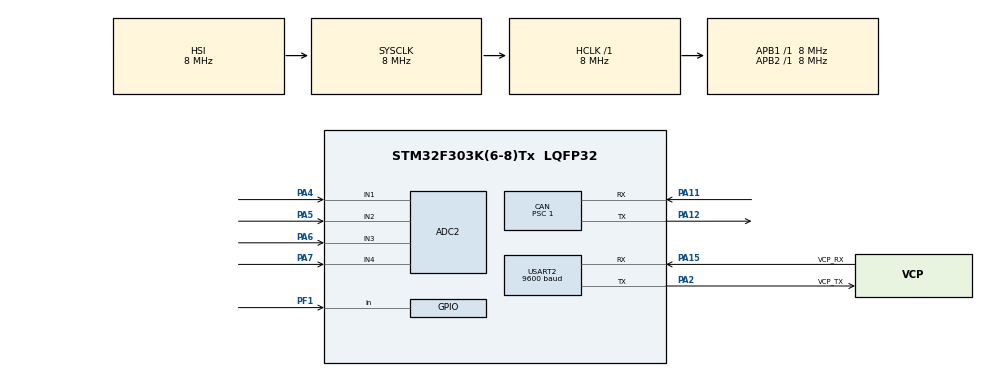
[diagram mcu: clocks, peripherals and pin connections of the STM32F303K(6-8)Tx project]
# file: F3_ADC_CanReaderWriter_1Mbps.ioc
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ADC2.Channel-0\#ChannelRegularConversion=ADC_CHANNEL_4
ADC2.Channel-1\#ChannelRegularConversion=ADC_CHANNEL_3
ADC2.Channel-2\#ChannelRegularConversion=ADC_CHANNEL_2
ADC2.Channel-3\#ChannelRegularConversion=ADC_CHANNEL_1
ADC2.ClockPrescaler=ADC_CLOCK_SYNC_PCLK_DIV4
ADC2.ContinuousConvMode=ENABLE
ADC2.DMAContinuousRequests=ENABLE
ADC2.NbrOfConversion=4
ADC2.NbrOfConversionFlag=1
ADC2.Offset-0\#ChannelRegularConversion=0
ADC2.Offset-1\#ChannelRegularConversion=0
ADC2.Offset-2\#ChannelRegularConversion=0
ADC2.Offset-3\#ChannelRegularConversion=0
ADC2.OffsetNumber-0\#ChannelRegularConversion=ADC_OFFSET_NONE
ADC2.OffsetNumber-1\#ChannelRegularConversion=ADC_OFFSET_NONE
ADC2.OffsetNumber-2\#ChannelRegularConversion=ADC_OFFSET_NONE
ADC2.OffsetNumber-3\#ChannelRegularConversion=ADC_OFFSET_NONE
ADC2.Rank-0\#ChannelRegularConversion=1
ADC2.Rank-1\#ChannelRegularConversion=2
ADC2.Rank-2\#ChannelRegularConversion=3
ADC2.Rank-3\#ChannelRegularConversion=4
ADC2.SamplingTime-0\#ChannelRegularConversion=ADC_SAMPLETIME_61CYCLES_5
ADC2.SamplingTime-1\#ChannelRegularConversion=ADC_SAMPLETIME_61CYCLES_5
ADC2.SamplingTime-2\#ChannelRegularConversion=ADC_SAMPLETIME_61CYCLES_5
ADC2.SamplingTime-3\#ChannelRegularConversion=ADC_SAMPLETIME_61CYCLES_5
ADC2.SamplingTimeOPAMP-1\#ChannelRegularConversion=ADC_SAMPLETIME_1CYCLE_5
ADC2.SamplingTimeOPAMP-2\#ChannelRegularConversion=ADC_SAMPLETIME_1CYCLE_5
ADC2.SamplingTimeOPAMP-3\#ChannelRegularConversion=ADC_SAMPLETIME_1CYCLE_5
ADC2.SubFamily=STM32F303x8
CAN.BS1=CAN_BS1_6TQ
CAN.CalculateBaudRate=1000000
CAN.CalculateTimeBit=1000
CAN.CalculateTimeQuantum=125.0
CAN.Prescaler=1
Dma.ADC2.0.Direction=DMA_PERIPH_TO_MEMORY
Dma.ADC2.0.Instance=DMA1_Channel2
Dma.ADC2.0.MemDataAlignment=DMA_MDATAALIGN_HALFWORD
Dma.ADC2.0.MemInc=DMA_MINC_ENABLE
Dma.ADC2.0.Mode=DMA_CIRCULAR
Dma.ADC2.0.PeriphDataAlignment=DMA_PDATAALIGN_HALFWORD
Dma.ADC2.0.PeriphInc=DMA_PINC_DISABLE
Dma.ADC2.0.Priority=DMA_PRIORITY_LOW
Dma.Request0=ADC2
Mcu.Family=STM32F3
Mcu.Name=STM32F303K(6-8)Tx
Mcu.Package=LQFP32
NVIC.CAN_RX0_IRQn=true\:0\:0\:false\:false\:true\:true\:true\:true
NVIC.DMA1_Channel2_IRQn=true\:0\:0\:false\:false\:true\:false\:true\:true
NVIC.PriorityGroup=NVIC_PRIORITYGROUP_4
PA11.Mode=CAN_Activate
PA11.Signal=CAN_RX
PA12.Mode=CAN_Activate
PA12.Signal=CAN_TX
PA13.GPIO_Label=SWDIO
PA13.Mode=Serial_Wire
PA13.Signal=SYS_JTMS-SWDIO
PA14.GPIO_Label=SWCLK
PA14.Mode=Serial_Wire
PA14.Signal=SYS_JTCK-SWCLK
PA15.GPIO_Label=VCP_RX
PA15.Mode=Asynchronous
PA15.Signal=USART2_RX
PA2.GPIO_Label=VCP_TX
PA2.Mode=Asynchronous
PA2.Signal=USART2_TX
PA4.Mode=IN1-Single-Ended
PA4.Signal=ADC2_IN1
PA5.Mode=IN2-Single-Ended
PA5.Signal=ADC2_IN2
PA6.Mode=IN3-Single-Ended
PA6.Signal=ADC2_IN3
PA7.Mode=IN4-Single-Ended
PA7.Signal=ADC2_IN4
PF0\ /\ OSC_IN.GPIO_Label=MCO
PF0\ /\ OSC_IN.Mode=HSE-External-Clock-Source
PF0\ /\ OSC_IN.Signal=RCC_OSC_IN
PF1\ /\ OSC_OUT.Signal=GPIO_Input
ProjectManager.HeapSize=0x200
ProjectManager.StackSize=0x400
ProjectManager.TargetToolchain=STM32CubeIDE
RCC.AHBFreq_Value=8000000
RCC.APB1Freq_Value=8000000
RCC.APB2Freq_Value=8000000
RCC.CortexFreq_Value=8000000
RCC.HSE_VALUE=8000000
RCC.HSI_VALUE=8000000
RCC.SYSCLKFreq_VALUE=8000000
USART2.BaudRate=9600
USART2.VirtualMode-Asynchronous=VM_ASYNC
board=NUCLEO-F303K8

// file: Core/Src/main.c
/* USER CODE BEGIN Header */
/**
  ******************************************************************************
  * @file           : main.c
  * @brief          : Main program body
  ******************************************************************************
  * @attention
  *
  * Copyright (c) 2024 STMicroelectronics.
  * All rights reserved.
  *
  * This software is licensed under terms that can be found in the LICENSE file
  * in the root directory of this software component.
  * If no LICENSE file comes with this software, it is provided AS-IS.
  *
  ******************************************************************************
  */
/* USER CODE END Header */
#include "main.h"

/* USER CODE BEGIN Includes */
#include <stdio.h>
/* USER CODE END Includes */

ADC_HandleTypeDef hadc2;
DMA_HandleTypeDef hdma_adc2;

CAN_HandleTypeDef hcan;

UART_HandleTypeDef huart2;

/* USER CODE BEGIN PV */
CAN_TxHeaderTypeDef TxHeader;
uint32_t TxMailbox;
uint8_t TxData[8];

CAN_FilterTypeDef filter;
uint32_t id;
uint32_t dlc;
uint8_t data[8];
uint16_t result[4]={0};
uint8_t myId[3]={0};
uint8_t CanId[3]={0};
/* USER CODE END PV */

void SystemClock_Config(void);
static void MX_GPIO_Init(void);
static void MX_DMA_Init(void);
static void MX_USART2_UART_Init(void);
static void MX_ADC2_Init(void);
static void MX_CAN_Init(void);
/* USER CODE BEGIN PFP */
void HAL_CAN_RxFifo0MsgPendingCallback(CAN_HandleTypeDef *hcan){
	CAN_RxHeaderTypeDef RxHeader;
	uint8_t RxData[8];
	if(HAL_CAN_GetRxMessage(hcan,CAN_RX_FIFO0,&RxHeader,RxData)==HAL_OK){
		id = (RxHeader.IDE == CAN_ID_STD)? RxHeader.StdId : RxHeader.ExtId;     // ID
		dlc = RxHeader.DLC;// DLC
		CanId[0]=(id&0xF00)>>8;
		CanId[1]=(id&0x0F0)>>4;
		CanId[2]=(id&0x00F);
		if((myId[0]==CanId[0])&&(myId[1]==CanId[1])&&(myId[2]==CanId[2])){
			data[0] = RxData[0];                                                    // Data
			data[1] = RxData[1];
			data[2] = RxData[2];
			data[3] = RxData[3];
			data[4] = RxData[4];
			data[5] = RxData[5];
			data[6] = RxData[6];
			data[7] = RxData[7];
		}
	}
}
/* USER CODE END PFP */

int main(void)
{

  /* USER CODE BEGIN 1 */
    setbuf(stdout, NULL);
  /* USER CODE END 1 */

  /* MCU Configuration--------------------------------------------------------*/

  /* Reset of all peripherals, Initializes the Flash interface and the Systick. */
  HAL_Init();

  /* Configure the system clock */
  SystemClock_Config();

  /* Initialize all configured peripherals */
  MX_GPIO_Init();
  MX_DMA_Init();
  MX_USART2_UART_Init();
  MX_ADC2_Init();
  MX_CAN_Init();
  /* USER CODE BEGIN 2 */
  TxHeader.StdId = 0x401;
  TxHeader.RTR = CAN_RTR_DATA;
  TxHeader.IDE = CAN_ID_STD;
  TxHeader.DLC = 8;
  TxHeader.TransmitGlobalTime = DISABLE;

  filter.FilterIdHigh = 0;
  filter.FilterIdLow = 0;
  filter.FilterMaskIdHigh = 0;
  filter.FilterMaskIdLow = 0;
  filter.FilterScale = CAN_FILTERSCALE_32BIT;
  filter.FilterFIFOAssignment = CAN_FILTER_FIFO0;
  filter.FilterBank = 0;
  filter.FilterMode = CAN_FILTERMODE_IDMASK;
  filter.SlaveStartFilterBank = 14;
  filter.FilterActivation = ENABLE;
  HAL_CAN_ConfigFilter(&hcan,&filter);

  HAL_CAN_ActivateNotification(&hcan,CAN_IT_RX_FIFO0_MSG_PENDING);
  HAL_CAN_Start(&hcan);

  HAL_ADCEx_Calibration_Start(&hadc2, ADC_SINGLE_ENDED);
  HAL_ADC_Start_DMA(&hadc2, (uint32_t *)&result, 4);
  /* USER CODE END 2 */

  /* Infinite loop */
  /* USER CODE BEGIN WHILE */
  while (1)
  {
	  if(result[3]>2000){
		  for(uint8_t i = 0 ; i<3 ; i++){
			  myId[i]=result[i]/256;//0~4095 -> 0~15
		  }
		  if((myId[0]==0) && (myId[1]==0) && (myId[2]==0)){
			  for(uint8_t j = 0 ; j<8; j++){
				  data[j]=0;
			  }
		  }
		  printf("-->[%d%d%d]  %d,%d,%d,%d,%d,%d,%d,%d\r\n",myId[0],myId[1],myId[2],data[0],data[1],data[2],data[3],data[4],data[5],data[6],data[7]);
	  }else{
		  if(0<HAL_CAN_GetTxMailboxesFreeLevel(&hcan)){
			  TxHeader.StdId = (myId[0]<<8)|(myId[1]<<4)|(myId[2]);
			  TxData[0] = result[0]/16;
			  TxData[1] = result[1]/16;
			  TxData[2] = result[2]/16;
			  TxData[3] = result[3]/16;
			  TxData[4] = 0;
			  TxData[5] = 0;
			  TxData[6] = 0;
			  TxData[7] = 0;
			  HAL_CAN_AddTxMessage(&hcan,&TxHeader,TxData,&TxMailbox);
		  }
		  printf("<--[%d%d%d]  %d,%d,%d,%d,%d,%d,%d,%d\r\n",myId[0],myId[1],myId[2],TxData[0],TxData[1],TxData[2],TxData[3],TxData[4],TxData[5],TxData[6],TxData[7]);
		  }
    /* USER CODE END WHILE */

  }
}

void SystemClock_Config(void)
{
  RCC_OscInitTypeDef RCC_OscInitStruct = {0};
  RCC_ClkInitTypeDef RCC_ClkInitStruct = {0};

  /** Initializes the RCC Oscillators according to the specified parameters
  * in the RCC_OscInitTypeDef structure.
  */
  RCC_OscInitStruct.OscillatorType = RCC_OSCILLATORTYPE_HSI;
  RCC_OscInitStruct.HSIState = RCC_HSI_ON;
  RCC_OscInitStruct.HSICalibrationValue = RCC_HSICALIBRATION_DEFAULT;
  RCC_OscInitStruct.PLL.PLLState = RCC_PLL_NONE;
  if (HAL_RCC_OscConfig(&RCC_OscInitStruct) != HAL_OK)
  {
    Error_Handler();
  }

  /** Initializes the CPU, AHB and APB buses clocks
  */
  RCC_ClkInitStruct.ClockType = RCC_CLOCKTYPE_HCLK|RCC_CLOCKTYPE_SYSCLK
                              |RCC_CLOCKTYPE_PCLK1|RCC_CLOCKTYPE_PCLK2;
  RCC_ClkInitStruct.SYSCLKSource = RCC_SYSCLKSOURCE_HSI;
  RCC_ClkInitStruct.AHBCLKDivider = RCC_SYSCLK_DIV1;
  RCC_ClkInitStruct.APB1CLKDivider = RCC_HCLK_DIV1;
  RCC_ClkInitStruct.APB2CLKDivider = RCC_HCLK_DIV1;

  if (HAL_RCC_ClockConfig(&RCC_ClkInitStruct, FLASH_LATENCY_0) != HAL_OK)
  {
    Error_Handler();
  }
}

static void MX_ADC2_Init(void)
{

  ADC_ChannelConfTypeDef sConfig = {0};

  /** Common config
  */
  hadc2.Instance = ADC2;
  hadc2.Init.ClockPrescaler = ADC_CLOCK_SYNC_PCLK_DIV4;
  hadc2.Init.Resolution = ADC_RESOLUTION_12B;
  hadc2.Init.ScanConvMode = ADC_SCAN_ENABLE;
  hadc2.Init.ContinuousConvMode = ENABLE;
  hadc2.Init.DiscontinuousConvMode = DISABLE;
  hadc2.Init.ExternalTrigConvEdge = ADC_EXTERNALTRIGCONVEDGE_NONE;
  hadc2.Init.ExternalTrigConv = ADC_SOFTWARE_START;
  hadc2.Init.DataAlign = ADC_DATAALIGN_RIGHT;
  hadc2.Init.NbrOfConversion = 4;
  hadc2.Init.DMAContinuousRequests = ENABLE;
  hadc2.Init.EOCSelection = ADC_EOC_SINGLE_CONV;
  hadc2.Init.LowPowerAutoWait = DISABLE;
  hadc2.Init.Overrun = ADC_OVR_DATA_OVERWRITTEN;
  if (HAL_ADC_Init(&hadc2) != HAL_OK)
  {
    Error_Handler();
  }

  /** Configure Regular Channel
  */
  sConfig.Channel = ADC_CHANNEL_4;
  sConfig.Rank = ADC_REGULAR_RANK_1;
  sConfig.SingleDiff = ADC_SINGLE_ENDED;
  sConfig.SamplingTime = ADC_SAMPLETIME_61CYCLES_5;
  sConfig.OffsetNumber = ADC_OFFSET_NONE;
  sConfig.Offset = 0;
  if (HAL_ADC_ConfigChannel(&hadc2, &sConfig) != HAL_OK)
  {
    Error_Handler();
  }

  /** Configure Regular Channel
  */
  sConfig.Channel = ADC_CHANNEL_3;
  sConfig.Rank = ADC_REGULAR_RANK_2;
  if (HAL_ADC_ConfigChannel(&hadc2, &sConfig) != HAL_OK)
  {
    Error_Handler();
  }

  /** Configure Regular Channel
  */
  sConfig.Channel = ADC_CHANNEL_2;
  sConfig.Rank = ADC_REGULAR_RANK_3;
  if (HAL_ADC_ConfigChannel(&hadc2, &sConfig) != HAL_OK)
  {
    Error_Handler();
  }

  /** Configure Regular Channel
  */
  sConfig.Channel = ADC_CHANNEL_1;
  sConfig.Rank = ADC_REGULAR_RANK_4;
  if (HAL_ADC_ConfigChannel(&hadc2, &sConfig) != HAL_OK)
  {
    Error_Handler();
  }

}

static void MX_CAN_Init(void)
{

  hcan.Instance = CAN;
  hcan.Init.Prescaler = 1;
  hcan.Init.Mode = CAN_MODE_NORMAL;
  hcan.Init.SyncJumpWidth = CAN_SJW_1TQ;
  hcan.Init.TimeSeg1 = CAN_BS1_6TQ;
  hcan.Init.TimeSeg2 = CAN_BS2_1TQ;
  hcan.Init.TimeTriggeredMode = DISABLE;
  hcan.Init.AutoBusOff = DISABLE;
  hcan.Init.AutoWakeUp = DISABLE;
  hcan.Init.AutoRetransmission = DISABLE;
  hcan.Init.ReceiveFifoLocked = DISABLE;
  hcan.Init.TransmitFifoPriority = DISABLE;
  if (HAL_CAN_Init(&hcan) != HAL_OK)
  {
    Error_Handler();
  }

}

static void MX_USART2_UART_Init(void)
{

  huart2.Instance = USART2;
  huart2.Init.BaudRate = 9600;
  huart2.Init.WordLength = UART_WORDLENGTH_8B;
  huart2.Init.StopBits = UART_STOPBITS_1;
  huart2.Init.Parity = UART_PARITY_NONE;
  huart2.Init.Mode = UART_MODE_TX_RX;
  huart2.Init.HwFlowCtl = UART_HWCONTROL_NONE;
  huart2.Init.OverSampling = UART_OVERSAMPLING_16;
  huart2.Init.OneBitSampling = UART_ONE_BIT_SAMPLE_DISABLE;
  huart2.AdvancedInit.AdvFeatureInit = UART_ADVFEATURE_NO_INIT;
  if (HAL_UART_Init(&huart2) != HAL_OK)
  {
    Error_Handler();
  }

}

static void MX_DMA_Init(void)
{

  /* DMA controller clock enable */
  __HAL_RCC_DMA1_CLK_ENABLE();

  /* DMA interrupt init */
  /* DMA1_Channel2_IRQn interrupt configuration */
  HAL_NVIC_SetPriority(DMA1_Channel2_IRQn, 0, 0);
  HAL_NVIC_EnableIRQ(DMA1_Channel2_IRQn);

}

static void MX_GPIO_Init(void)
{
  GPIO_InitTypeDef GPIO_InitStruct = {0};

  /* GPIO Ports Clock Enable */
  __HAL_RCC_GPIOF_CLK_ENABLE();
  __HAL_RCC_GPIOA_CLK_ENABLE();

  /*Configure GPIO pin : PF1 */
  GPIO_InitStruct.Pin = GPIO_PIN_1;
  GPIO_InitStruct.Mode = GPIO_MODE_INPUT;
  GPIO_InitStruct.Pull = GPIO_NOPULL;
  HAL_GPIO_Init(GPIOF, &GPIO_InitStruct);

}

/* USER CODE BEGIN 4 */
int _write(int file, char *ptr, int len)
{
  HAL_UART_Transmit(&huart2,(uint8_t *)ptr,len,10);
  return len;
}
/* USER CODE END 4 */

void Error_Handler(void)
{
  __disable_irq();
  while (1)
  {
  }
}
